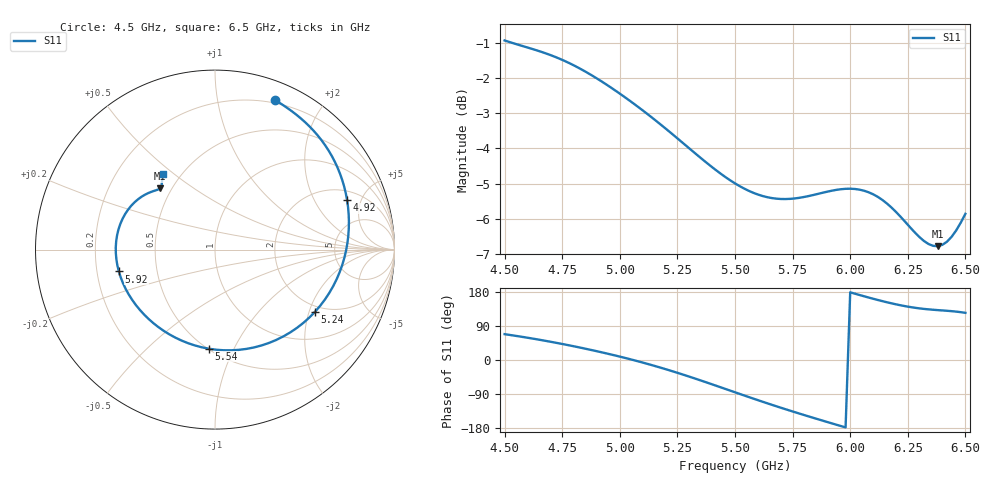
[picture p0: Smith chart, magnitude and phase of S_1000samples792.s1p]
! TOUCHSTONE file generated by CST MICROWAVE STUDIO
! Date and time: Sat Oct 29 09:50:36 2022
! Project name: L.cst
! Parameters = {Di=1.27; Epsilon_r=1.56; InnerDiameter=1.27; Length=2; Lf=10; Lg=60; OuterConductorThickness=0.2921; OuterDiameter=3.6; Wf=3; Wp=41.2; de=1.5; df=6.8; g=0.8; gx=1.79273; gy=1.4533; h=2.34; hf=1.524; px=10.1206; py=11.3461; w=9.7; wx=8.32787; wy=9.89282}
! Header version: 2018
! Port assignment regex: !\s*Touchstone port\s*([0-9]+)\s*=\s*(CST MWS port|CST DS port)\s*([0-9]+|Zmin|Zmax)\s*\(\"(.*)\"\)(\s*mode\s*([0-9]+))?.*
! Touchstone port assignment:
! Touchstone port 1 = CST MWS port 1 ("")
# GHz S DB R 50
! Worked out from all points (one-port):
!   101 points, 4.5 GHz to 6.5 GHz, reference 50 ohm
!   lowest |S11| = -6.8 dB at 6.38 GHz (marker M1), VSWR 2.69, Z = 21.7 + j18.8 ohm
!   |S11| at or under -10 dB: nowhere
!   S11 on the Smith chart (normalised r, x): 4.5 GHz: 0.17, +1.46; 4.92 GHz: 2.64, +3.79; 5.24 GHz: 1.80, -2.19; 5.54 GHz: 0.50, -0.80; 5.92 GHz: 0.29, -0.10; 6.5 GHz: 0.40, +0.46
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4.5  -0.94 68.2
4.64  -1.22 54.6
4.76  -1.52 41.1
4.84  -1.78 31.2
4.92  -2.10 20.5
5  -2.45 8.9
5.06  -2.73 -0.3
5.12  -3.03 -10.2
5.18  -3.34 -20.8
5.24  -3.66 -31.9
5.26  -3.77 -35.7
5.32  -4.10 -47.6
5.38  -4.43 -59.9
5.44  -4.73 -72.5
5.5  -4.99 -85.2
5.54  -5.14 -93.6
5.64  -5.39 -114.2
5.76  -5.42 -137.7
5.84  -5.32 -152.6
5.92  -5.20 -167.2
6  -5.15 178.6
6.06  -5.20 168.2
6.14  -5.47 155.3
6.2  -5.81 146.8
6.26  -6.24 139.8
6.38  -6.78 131.6
6.44  -6.51 128.9
6.5  -5.86 124.4
